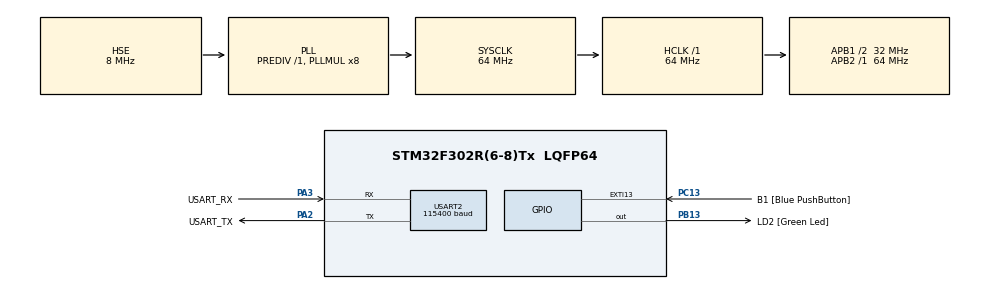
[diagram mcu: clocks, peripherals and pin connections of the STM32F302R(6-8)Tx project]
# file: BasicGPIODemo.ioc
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Mcu.Family=STM32F3
Mcu.Name=STM32F302R(6-8)Tx
Mcu.Package=LQFP64
NVIC.PriorityGroup=NVIC_PRIORITYGROUP_0
NVIC.USART2_IRQn=true\:0\:0\:false
PA13.GPIO_Label=TMS
PA13.Signal=SYS_JTMS-SWDIO
PA14.GPIO_Label=TCK
PA14.Signal=SYS_JTCK-SWCLK
PA2.GPIO_Label=USART_TX
PA2.GPIO_Mode=GPIO_MODE_AF_PP
PA2.GPIO_PuPd=GPIO_NOPULL
PA2.GPIO_Speed=GPIO_SPEED_LOW
PA2.Mode=Asynchronous
PA2.Signal=USART2_TX
PA3.GPIO_Label=USART_RX
PA3.GPIO_Mode=GPIO_MODE_AF_PP
PA3.GPIO_PuPd=GPIO_NOPULL
PA3.GPIO_Speed=GPIO_SPEED_LOW
PA3.Mode=Asynchronous
PA3.Signal=USART2_RX
PB13.GPIO_Label=LD2 [Green Led]
PB13.Signal=GPIO_Output
PB3.GPIO_Label=SWO
PB3.Signal=SYS_JTDO-TRACESWO
PC13.GPIO_Label=B1 [Blue PushButton]
PC13.GPIO_ModeDefaultEXTI=GPIO_MODE_EVT_RISING
PC13.Signal=GPXTI13
PC14\ -\ OSC32_IN.Signal=RCC_OSC32_IN
PC15\ -\ OSC32_OUT.Signal=RCC_OSC32_OUT
PF0-OSC_IN.Mode=HSE-External-Clock-Source
PF0-OSC_IN.Signal=RCC_OSC_IN
PF1-OSC_OUT.Signal=RCC_OSC_OUT
ProjectManager.HeapSize=0x400
ProjectManager.StackSize=0x200
ProjectManager.TargetToolchain=SW4STM32
RCC.AHBFreq_Value=64000000
RCC.APB1CLKDivider=RCC_HCLK_DIV2
RCC.APB1Freq_Value=32000000
RCC.APB1TimFreq_Value=64000000
RCC.APB2Freq_Value=64000000
RCC.APB2TimFreq_Value=64000000
RCC.CortexFreq_Value=64000000
RCC.HCLKFreq_Value=64000000
RCC.HSE_VALUE=8000000
RCC.HSIState=RCC_HSI_ON
RCC.HSI_VALUE=8000000
RCC.LSE_VALUE=32768
RCC.PLLM=8
RCC.PLLMUL=RCC_PLL_MUL8
RCC.PLLN=336
RCC.PLLP=RCC_PLLP_DIV4
RCC.PLLQ=7
RCC.PLLSourceVirtual=RCC_PLLSOURCE_HSE
RCC.SYSCLKFreq_VALUE=64000000
RCC.SYSCLKSourceVirtual=RCC_SYSCLKSOURCE_PLLCLK
RCC.USBFreq_Value=64000000
USART2.BaudRate=115400
USART2.WordLength=UART_WORDLENGTH_8B
board=NUCLEO-F302R8

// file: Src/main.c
/**
  ******************************************************************************
  * File Name          : main.c
  * Description        : Main program body
  ******************************************************************************
  *
  * COPYRIGHT(c) 2017 STMicroelectronics
  *
  * Redistribution and use in source and binary forms, with or without modification,
  * are permitted provided that the following conditions are met:
  *   1. Redistributions of source code must retain the above copyright notice,
  *      this list of conditions and the following disclaimer.
  *   2. Redistributions in binary form must reproduce the above copyright notice,
  *      this list of conditions and the following disclaimer in the documentation
  *      and/or other materials provided with the distribution.
  *   3. Neither the name of STMicroelectronics nor the names of its contributors
  *      may be used to endorse or promote products derived from this software
  *      without specific prior written permission.
  *
  * THIS SOFTWARE IS PROVIDED BY THE COPYRIGHT HOLDERS AND CONTRIBUTORS "AS IS"
  * AND ANY EXPRESS OR IMPLIED WARRANTIES, INCLUDING, BUT NOT LIMITED TO, THE
  * IMPLIED WARRANTIES OF MERCHANTABILITY AND FITNESS FOR A PARTICULAR PURPOSE ARE
  * DISCLAIMED. IN NO EVENT SHALL THE COPYRIGHT HOLDER OR CONTRIBUTORS BE LIABLE
  * FOR ANY DIRECT, INDIRECT, INCIDENTAL, SPECIAL, EXEMPLARY, OR CONSEQUENTIAL
  * DAMAGES (INCLUDING, BUT NOT LIMITED TO, PROCUREMENT OF SUBSTITUTE GOODS OR
  * SERVICES; LOSS OF USE, DATA, OR PROFITS; OR BUSINESS INTERRUPTION) HOWEVER
  * CAUSED AND ON ANY THEORY OF LIABILITY, WHETHER IN CONTRACT, STRICT LIABILITY,
  * OR TORT (INCLUDING NEGLIGENCE OR OTHERWISE) ARISING IN ANY WAY OUT OF THE USE
  * OF THIS SOFTWARE, EVEN IF ADVISED OF THE POSSIBILITY OF SUCH DAMAGE.
  *
  ******************************************************************************
  */
#include "stm32f3xx_hal.h"
#include <string.h>

UART_HandleTypeDef huart2;

/* USER CODE BEGIN PV */
/* Private variables ---------------------------------------------------------*/
char msg[100];
volatile GPIO_PinState butU = GPIO_PIN_RESET;
GPIO_PinState mPrevButtU = GPIO_PIN_RESET;

#define USBINBUFFLEN 50
uint8_t usbInput;
char userCommand[USBINBUFFLEN];
int mUSBCnt = 0;
int mUserCommandCnt = 0;
__IO ITStatus UartReady = SET;

/* USER CODE END PV */

void SystemClock_Config(void);
static void MX_GPIO_Init(void);
static void MX_USART2_UART_Init(void);

/* USER CODE BEGIN PFP */
/* Private function prototypes -----------------------------------------------*/
void treatUserCommand();

/* USER CODE END PFP */

int main(void)
{

  /* MCU Configuration----------------------------------------------------------*/

  /* Reset of all peripherals, Initializes the Flash interface and the Systick. */
  HAL_Init();

  /* Configure the system clock */
  SystemClock_Config();

  /* Initialize all configured peripherals */
  MX_GPIO_Init();
  MX_USART2_UART_Init();

  /* USER CODE BEGIN 2 */
  HAL_UART_Receive_IT(&huart2, &usbInput, 1);
  sprintf(msg, "Reset: initialisation OK.\r\n");
  HAL_UART_Transmit(&huart2, (uint8_t*)msg, strlen(msg), HAL_MAX_DELAY);

  /* USER CODE END 2 */

  /* Infinite loop */
  /* USER CODE BEGIN WHILE */
  while (1)
  {
	if (UartReady == SET) {
		UartReady = RESET;
		treatUserCommand();
	}
	butU = HAL_GPIO_ReadPin(B1_GPIO_Port, B1_Pin);
	if (butU != mPrevButtU) {	// button state change?
		mPrevButtU = butU;
		if (butU == GPIO_PIN_RESET) {	// button pressed?
			sprintf(msg, "Butt=0\r\n");
		} else {
			sprintf(msg, "Butt=1\r\n");
		}
		HAL_UART_Transmit(&huart2, (uint8_t*)msg, strlen(msg), HAL_MAX_DELAY);
	}
  /* USER CODE END WHILE */

  }

}

/** System Clock Configuration
*/
void SystemClock_Config(void)
{

  RCC_OscInitTypeDef RCC_OscInitStruct;
  RCC_ClkInitTypeDef RCC_ClkInitStruct;

  RCC_OscInitStruct.OscillatorType = RCC_OSCILLATORTYPE_HSE;
  RCC_OscInitStruct.HSEState = RCC_HSE_BYPASS;
  RCC_OscInitStruct.HSEPredivValue = RCC_HSE_PREDIV_DIV1;
  RCC_OscInitStruct.PLL.PLLState = RCC_PLL_ON;
  RCC_OscInitStruct.PLL.PLLSource = RCC_PLLSOURCE_HSE;
  RCC_OscInitStruct.PLL.PLLMUL = RCC_PLL_MUL8;
  HAL_RCC_OscConfig(&RCC_OscInitStruct);

  RCC_ClkInitStruct.ClockType = RCC_CLOCKTYPE_HCLK|RCC_CLOCKTYPE_SYSCLK
                              |RCC_CLOCKTYPE_PCLK1|RCC_CLOCKTYPE_PCLK2;
  RCC_ClkInitStruct.SYSCLKSource = RCC_SYSCLKSOURCE_PLLCLK;
  RCC_ClkInitStruct.AHBCLKDivider = RCC_SYSCLK_DIV1;
  RCC_ClkInitStruct.APB1CLKDivider = RCC_HCLK_DIV2;
  RCC_ClkInitStruct.APB2CLKDivider = RCC_HCLK_DIV1;
  HAL_RCC_ClockConfig(&RCC_ClkInitStruct, FLASH_LATENCY_2);

  HAL_SYSTICK_Config(HAL_RCC_GetHCLKFreq()/1000);

  HAL_SYSTICK_CLKSourceConfig(SYSTICK_CLKSOURCE_HCLK);

  /* SysTick_IRQn interrupt configuration */
  HAL_NVIC_SetPriority(SysTick_IRQn, 0, 1);
}

/* USART2 init function */
void MX_USART2_UART_Init(void)
{

  huart2.Instance = USART2;
  huart2.Init.BaudRate = 115400;
  huart2.Init.WordLength = UART_WORDLENGTH_8B;
  huart2.Init.StopBits = UART_STOPBITS_1;
  huart2.Init.Parity = UART_PARITY_NONE;
  huart2.Init.Mode = UART_MODE_TX_RX;
  huart2.Init.HwFlowCtl = UART_HWCONTROL_NONE;
  huart2.Init.OverSampling = UART_OVERSAMPLING_16;
  huart2.Init.OneBitSampling = UART_ONEBIT_SAMPLING_DISABLED ;
  huart2.AdvancedInit.AdvFeatureInit = UART_ADVFEATURE_NO_INIT;
  HAL_UART_Init(&huart2);

}

/** Configure pins as
        * Analog
        * Input
        * Output
        * EVENT_OUT
        * EXTI
*/
void MX_GPIO_Init(void)
{

  GPIO_InitTypeDef GPIO_InitStruct;

  /* GPIO Ports Clock Enable */
  __GPIOC_CLK_ENABLE();
  __GPIOF_CLK_ENABLE();
  __GPIOA_CLK_ENABLE();
  __GPIOB_CLK_ENABLE();

  /*Configure GPIO pin : B1_Pin */
  GPIO_InitStruct.Pin = B1_Pin;
  GPIO_InitStruct.Mode = GPIO_MODE_EVT_RISING;
  GPIO_InitStruct.Pull = GPIO_NOPULL;
  HAL_GPIO_Init(B1_GPIO_Port, &GPIO_InitStruct);

  /*Configure GPIO pin : LD2_Pin */
  GPIO_InitStruct.Pin = LD2_Pin;
  GPIO_InitStruct.Mode = GPIO_MODE_OUTPUT_PP;
  GPIO_InitStruct.Pull = GPIO_NOPULL;
  GPIO_InitStruct.Speed = GPIO_SPEED_LOW;
  HAL_GPIO_Init(LD2_GPIO_Port, &GPIO_InitStruct);

  /*Configure GPIO pin Output Level */
  HAL_GPIO_WritePin(LD2_GPIO_Port, LD2_Pin, GPIO_PIN_RESET);

}

/* USER CODE BEGIN 4 */
void treatUserCommand() {
	char c;
	c = userCommand[0];
	switch (c) {
	case 'S':		// Set Led = 0 or 1
		if (userCommand[1] == 'L') {
			if (userCommand[2] == '=') {
				if (userCommand[3] == '0') {
				    HAL_GPIO_WritePin(LD2_GPIO_Port, LD2_Pin, GPIO_PIN_RESET);
				} else if (userCommand[3] == '1') {
				    HAL_GPIO_WritePin(LD2_GPIO_Port, LD2_Pin, GPIO_PIN_SET);
				}
				sprintf(msg, "OK\r\n");
				HAL_UART_Transmit(&huart2, (uint8_t*)msg, strlen(msg), HAL_MAX_DELAY);
			}

		}
		break;
	}
}

void HAL_UART_RxCpltCallback(UART_HandleTypeDef *UartHandle) {
	userCommand[mUSBCnt++] = usbInput;
	if (usbInput == '\r' || usbInput == '\n') {
		UartReady = SET;
		mUserCommandCnt = mUSBCnt;
		mUSBCnt = 0;
	}
	HAL_UART_Receive_IT(&huart2, &usbInput, 1);
}

/* USER CODE END 4 */

/************************ (C) COPYRIGHT STMicroelectronics *****END OF FILE****/
